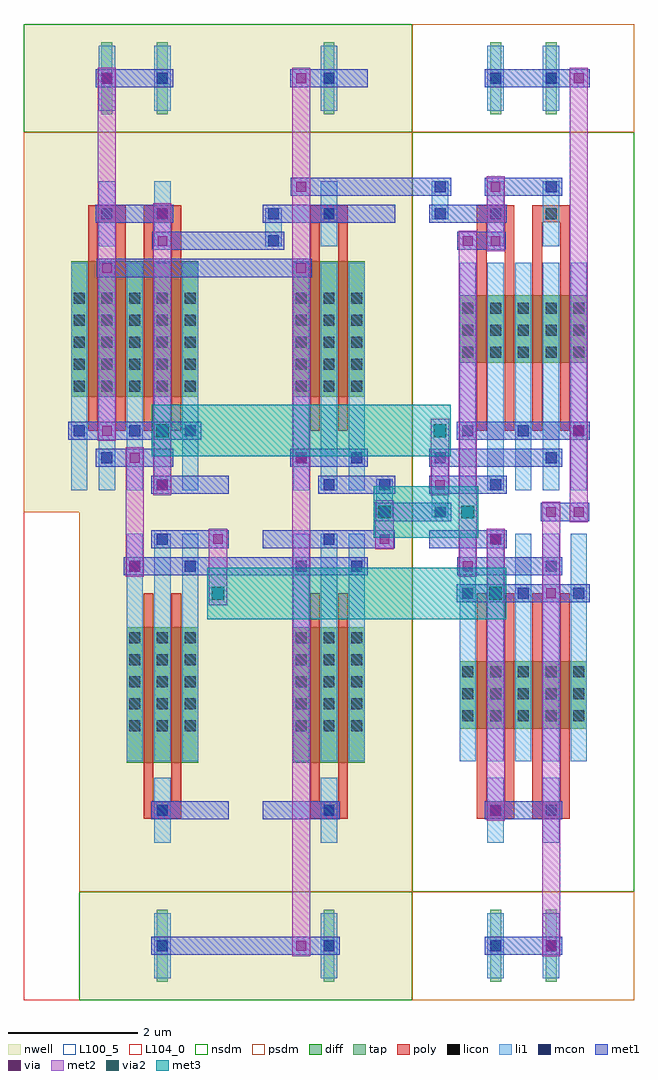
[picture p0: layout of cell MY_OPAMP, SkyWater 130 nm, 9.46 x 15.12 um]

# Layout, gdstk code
import gdstk
lib = gdstk.Library(unit=1e-6, precision=1e-09)
def R(c, l, rs):  # rectangles x0, y0, x1, y1
    for r in rs: c.add(gdstk.rectangle(r[:2], r[2:], *l))
def A(c, l, x, y, w, h, nx, ny, dx, dy):  # array of equal rectangles
    R(c, l, [(x+i*dx, y+j*dy, x+i*dx+w, y+j*dy+h) for i in range(nx) for j in range(ny)])
nwell = (64, 20)
diff = (65, 20)
tap = (65, 44)
poly = (66, 20)
licon = (66, 44)
li1 = (67, 20)
mcon = (67, 44)
met1 = (68, 20)
via = (68, 44)
met2 = (69, 20)
via2 = (69, 44)
met3 = (70, 20)
nsdm = (93, 44)
psdm = (94, 20)
L100_5 = (100, 5)
L104_0 = (104, 0)

my_opamp = lib.new_cell('MY_OPAMP')
R(my_opamp, nwell, [(0.86,0,3.44,7.56), (3.44,0,6.02,7.56), (0,7.56,3.44,15.12), (3.44,7.56,6.02,15.12)])
R(my_opamp, diff, [(1.595,3.675,2.705,5.775), (4.175,3.675,5.285,5.775), (6.755,4.2,8.725,5.25), (0.735,9.345,2.705,11.445), (4.175,9.345,5.285,11.445), (6.755,9.87,8.725,10.92)])
A(my_opamp, tap, 2.065, 0.28, 0.17, 1.12, 3, 2, 2.58, 13.44)
R(my_opamp, tap, [(8.085,0.28,8.255,1.4), (1.205,13.72,1.375,14.84), (8.085,13.72,8.255,14.84)])
A(my_opamp, poly, 1.86, 2.805, 0.58, 0.27, 3, 2, 2.58, 9.24)
A(my_opamp, poly, 7.02, 2.94, 0.15, 3.36, 4, 2, 0.43, 5.88)
A(my_opamp, poly, 1, 8.82, 0.15, 3.36, 4, 1, 0.43, 0)
R(my_opamp, poly, [(7.88,2.805,8.46,3.075), (1.86,2.94,2.01,6.3), (2.29,2.94,2.44,6.3), (4.44,2.94,4.59,6.3), (4.87,2.94,5.02,6.3), (4.44,8.82,4.59,12.18), (4.87,8.82,5.02,12.18), (1,12.045,1.58,12.315), (7.88,12.045,8.46,12.315)])
A(my_opamp, licon, 2.065, 0.755, 0.17, 0.17, 3, 2, 2.58, 2.1)
A(my_opamp, licon, 1.635, 4.165, 0.17, 0.17, 3, 5, 0.43, 0.34)
A(my_opamp, licon, 4.215, 4.165, 0.17, 0.17, 3, 5, 0.43, 0.34)
A(my_opamp, licon, 6.795, 4.32, 0.17, 0.17, 3, 3, 0.43, 0.34)
A(my_opamp, licon, 7.655, 4.32, 0.17, 0.17, 3, 3, 0.43, 0.34)
A(my_opamp, licon, 0.775, 9.425, 0.17, 0.17, 3, 5, 0.43, 0.34)
A(my_opamp, licon, 1.635, 9.425, 0.17, 0.17, 3, 5, 0.43, 0.34)
A(my_opamp, licon, 4.215, 9.425, 0.17, 0.17, 3, 5, 0.43, 0.34)
A(my_opamp, licon, 6.795, 9.95, 0.17, 0.17, 3, 3, 0.43, 0.34)
A(my_opamp, licon, 7.655, 9.95, 0.17, 0.17, 3, 3, 0.43, 0.34)
A(my_opamp, licon, 2.065, 12.095, 0.17, 0.17, 3, 2, 2.58, 2.1)
R(my_opamp, licon, [(8.085,0.755,8.255,0.925), (8.085,2.855,8.255,3.025), (1.205,12.095,1.375,12.265), (8.085,12.095,8.255,12.265), (1.205,14.195,1.375,14.365), (8.085,14.195,8.255,14.365)])
A(my_opamp, li1, 2.025, 0.335, 0.25, 1.01, 3, 2, 2.58, 2.1)
A(my_opamp, li1, 1.595, 3.695, 0.25, 3.53, 3, 1, 0.43, 0)
A(my_opamp, li1, 4.175, 3.695, 0.25, 3.53, 3, 2, 0.43, 4.2)
A(my_opamp, li1, 6.755, 3.695, 0.25, 3.53, 5, 2, 0.43, 4.2)
A(my_opamp, li1, 0.735, 7.895, 0.25, 3.53, 5, 1, 0.43, 0)
A(my_opamp, li1, 2.025, 11.675, 0.25, 1.01, 3, 2, 2.58, 2.1)
R(my_opamp, li1, [(8.045,0.335,8.295,1.345), (8.045,2.435,8.295,3.445), (5.465,7.475,5.715,8.065), (6.325,7.475,6.575,8.485), (1.165,11.675,1.415,12.685), (3.745,11.675,3.995,12.265), (8.045,11.675,8.295,12.685), (6.325,12.095,6.575,12.685), (1.165,13.775,1.415,14.785), (8.045,13.775,8.295,14.785)])
A(my_opamp, mcon, 2.065, 0.755, 0.17, 0.17, 3, 2, 2.58, 2.1)
A(my_opamp, mcon, 6.795, 6.215, 0.17, 0.17, 3, 2, 0.86, 2.52)
A(my_opamp, mcon, 2.065, 7.055, 0.17, 0.17, 3, 2, 2.58, 7.14)
A(my_opamp, mcon, 0.775, 8.735, 0.17, 0.17, 3, 1, 0.86, 0)
R(my_opamp, mcon, [(8.085,0.755,8.255,0.925), (8.085,2.855,8.255,3.025), (1.635,6.635,1.805,6.805), (2.495,6.635,2.665,6.805), (4.215,6.635,4.385,6.805), (5.075,6.635,5.245,6.805), (8.085,6.635,8.255,6.805), (5.505,7.475,5.675,7.645), (6.365,7.475,6.535,7.645), (2.065,7.895,2.235,8.065), (4.645,7.895,4.815,8.065), (5.505,7.895,5.675,8.065), (7.225,7.895,7.395,8.065), (1.205,8.315,1.375,8.485), (4.215,8.315,4.385,8.485), (5.075,8.315,5.245,8.485), (6.365,8.315,6.535,8.485), (8.085,8.315,8.255,8.485), (3.785,11.675,3.955,11.845), (1.205,12.095,1.375,12.265), (2.065,12.095,2.235,12.265), (3.785,12.095,3.955,12.265), (4.645,12.095,4.815,12.265), (6.365,12.095,6.535,12.265), (7.225,12.095,7.395,12.265), (6.365,12.515,6.535,12.685), (8.085,12.515,8.255,12.685), (1.205,14.195,1.375,14.365), (8.085,14.195,8.255,14.365)])
R(my_opamp, met1, [(1.98,0.7,4.9,0.98), (7.14,0.7,8.34,0.98), (1.98,2.8,3.18,3.08), (3.7,2.8,4.9,3.08), (7.14,2.8,8.34,3.08), (6.71,6.16,8.77,6.44), (1.55,6.58,5.33,6.86), (6.72,6.58,8.34,6.86), (1.98,7,3.18,7.28), (3.7,7,5.75,7.28), (6.28,7,7.48,7.28), (5.42,7.42,6.62,7.7), (8.01,7.42,8.76,7.7), (1.98,7.84,3.18,8.12), (4.56,7.84,5.76,8.12), (6.28,7.84,7.48,8.12), (1.12,8.26,2.32,8.54), (4.13,8.26,5.33,8.54), (6.28,8.26,8.34,8.54), (0.69,8.68,2.75,8.96), (6.71,8.68,8.77,8.96), (1.13,11.2,4.46,11.48), (1.99,11.62,4.04,11.9), (6.72,11.62,7.47,11.9), (1.12,12.04,2.32,12.32), (3.7,12.04,5.76,12.32), (6.28,12.04,7.48,12.32), (4.14,12.46,6.62,12.74), (7.14,12.46,8.34,12.74), (1.12,14.14,2.32,14.42), (4.13,14.14,5.33,14.42), (7.14,14.14,8.77,14.42)])
R(my_opamp, via, [(4.225,0.765,4.375,0.915), (8.095,0.765,8.245,0.915), (7.235,2.865,7.385,3.015), (8.095,6.225,8.245,6.375), (1.645,6.645,1.795,6.795), (6.805,6.645,6.955,6.795), (2.935,7.065,3.085,7.215), (5.515,7.065,5.665,7.215), (7.235,7.065,7.385,7.215), (8.095,7.485,8.245,7.635), (8.525,7.485,8.675,7.635), (2.075,7.905,2.225,8.055), (6.375,7.905,6.525,8.055), (1.645,8.325,1.795,8.475), (4.225,8.325,4.375,8.475), (1.215,8.745,1.365,8.895), (8.525,8.745,8.675,8.895), (1.215,11.265,1.365,11.415), (4.225,11.265,4.375,11.415), (2.075,11.685,2.225,11.835), (6.805,11.685,6.955,11.835), (7.235,11.685,7.385,11.835), (2.075,12.105,2.225,12.255), (4.225,12.525,4.375,12.675), (7.235,12.525,7.385,12.675), (1.215,14.205,1.365,14.355), (4.225,14.205,4.375,14.355), (8.525,14.205,8.675,14.355)])
R(my_opamp, met2, [(4.16,0.68,4.44,14.44), (8.03,0.68,8.31,7.72), (7.17,2.78,7.45,7.3), (2.87,6.115,3.15,7.3), (1.58,6.56,1.86,8.56), (6.74,6.56,7.02,11.92), (5.45,6.98,5.73,7.745), (8.46,7.4,8.74,14.44), (2.01,7.82,2.29,12.34), (6.31,7.82,6.59,9.005), (1.15,8.66,1.43,14.44), (7.17,11.6,7.45,12.76)])
R(my_opamp, via2, [(2.91,6.2,3.11,6.4), (7.21,6.2,7.41,6.4), (5.49,7.46,5.69,7.66), (6.78,7.46,6.98,7.66), (2.05,8.72,2.25,8.92), (6.35,8.72,6.55,8.92)])
R(my_opamp, met3, [(2.845,5.9,7.475,6.7), (5.425,7.16,7.045,7.96), (1.985,8.42,6.615,9.22)])
R(my_opamp, nsdm, [(0.86,0,3.44,1.68), (3.44,0,6.02,1.68), (6.02,1.68,9.46,7.56), (6.02,7.56,9.46,13.44), (0,13.44,3.44,15.12), (3.44,13.44,6.02,15.12)])
R(my_opamp, psdm, [(6.02,0,9.46,1.68), (0.86,1.68,3.44,7.56), (3.44,1.68,6.02,7.56), (0,7.56,3.44,13.44), (3.44,7.56,6.02,13.44), (6.02,13.44,9.46,15.12)])
R(my_opamp, L100_5, [(0,0,9.46,15.12)])
R(my_opamp, L104_0, [(0,0,9.46,15.12)])

lib.write_gds('MY_OPAMP.gds')
